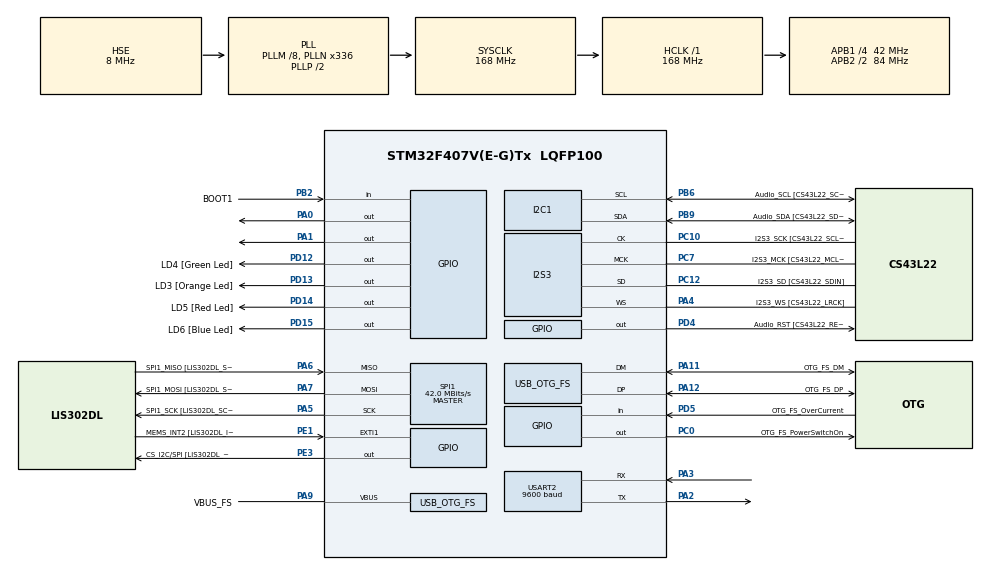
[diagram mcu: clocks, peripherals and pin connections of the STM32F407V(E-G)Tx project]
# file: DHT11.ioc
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I2S3.AudioFreq-Half_Duplex_Master=I2S_AUDIOFREQ_96K
I2S3.ErrorAudioFreq=-2.34 %
I2S3.ErrorAudioFreq-Half_Duplex_Master=0.8 %
I2S3.FullDuplexMode=I2S_FULLDUPLEXMODE_DISABLE
I2S3.Instance=SPI$Index
I2S3.RealAudioFreq=93.75 KHz
I2S3.RealAudioFreq-Half_Duplex_Master=96.774 KHz
I2S3.VirtualMode=I2S_MODE_MASTER
Mcu.Family=STM32F4
Mcu.Name=STM32F407V(E-G)Tx
Mcu.Package=LQFP100
NVIC.OTG_FS_IRQn=true\:0\:0\:false\:false\:true\:true\:true\:true
NVIC.PriorityGroup=NVIC_PRIORITYGROUP_0
PA0-WKUP.Signal=GPIO_Output
PA1.Signal=GPIO_Output
PA10.GPIO_Label=OTG_FS_ID
PA10.GPIO_Mode=GPIO_MODE_AF_PP
PA10.GPIO_PuPd=GPIO_NOPULL
PA10.GPIO_Speed=GPIO_SPEED_FREQ_LOW
PA10.Signal=USB_OTG_FS_ID
PA11.GPIO_Label=OTG_FS_DM
PA11.GPIO_Mode=GPIO_MODE_AF_PP
PA11.GPIO_PuPd=GPIO_NOPULL
PA11.GPIO_Speed=GPIO_SPEED_FREQ_LOW
PA11.Mode=Host_Only
PA11.Signal=USB_OTG_FS_DM
PA12.GPIO_Label=OTG_FS_DP
PA12.GPIO_Mode=GPIO_MODE_AF_PP
PA12.GPIO_PuPd=GPIO_NOPULL
PA12.GPIO_Speed=GPIO_SPEED_FREQ_LOW
PA12.Mode=Host_Only
PA12.Signal=USB_OTG_FS_DP
PA13.GPIO_Label=SWDIO
PA13.Mode=Serial_Wire
PA13.Signal=SYS_JTMS-SWDIO
PA14.GPIO_Label=SWCLK
PA14.Mode=Serial_Wire
PA14.Signal=SYS_JTCK-SWCLK
PA2.Mode=Asynchronous
PA2.Signal=USART2_TX
PA3.Mode=Asynchronous
PA3.Signal=USART2_RX
PA4.GPIO_Label=I2S3_WS [CS43L22_LRCK]
PA4.GPIO_Mode=GPIO_MODE_AF_PP
PA4.GPIO_PuPd=GPIO_NOPULL
PA4.GPIO_Speed=GPIO_SPEED_FREQ_LOW
PA4.Mode=Half_Duplex_Master
PA4.Signal=I2S3_WS
PA5.GPIO_Label=SPI1_SCK [LIS302DL_SCL/SPC]
PA5.GPIO_Mode=GPIO_MODE_AF_PP
PA5.GPIO_PuPd=GPIO_NOPULL
PA5.GPIO_Speed=GPIO_SPEED_FREQ_LOW
PA5.Mode=Full_Duplex_Master
PA5.Signal=SPI1_SCK
PA6.GPIO_Label=SPI1_MISO [LIS302DL_SDO]
PA6.GPIO_Mode=GPIO_MODE_AF_PP
PA6.GPIO_PuPd=GPIO_NOPULL
PA6.GPIO_Speed=GPIO_SPEED_FREQ_LOW
PA6.Mode=Full_Duplex_Master
PA6.Signal=SPI1_MISO
PA7.GPIO_Label=SPI1_MOSI [LIS302DL_SDA/SDI/SDO]
PA7.GPIO_Mode=GPIO_MODE_AF_PP
PA7.GPIO_PuPd=GPIO_NOPULL
PA7.GPIO_Speed=GPIO_SPEED_FREQ_LOW
PA7.Mode=Full_Duplex_Master
PA7.Signal=SPI1_MOSI
PA9.GPIO_Label=VBUS_FS
PA9.GPIO_Mode=GPIO_MODE_INPUT
PA9.GPIO_PuPd=GPIO_NOPULL
PA9.Mode=Activate_VBUS
PA9.Signal=USB_OTG_FS_VBUS
PB10.GPIO_Label=CLK_IN [MP45DT02_CLK]
PB10.GPIO_Mode=GPIO_MODE_AF_PP
PB10.GPIO_PuPd=GPIO_NOPULL
PB10.GPIO_Speed=GPIO_SPEED_FREQ_LOW
PB10.Signal=I2S2_CK
PB2.GPIO_Label=BOOT1
PB2.GPIO_Mode=GPIO_MODE_INPUT
PB2.GPIO_PuPd=GPIO_NOPULL
PB2.Signal=GPIO_Input
PB3.GPIO_Label=SWO
PB3.Signal=SYS_JTDO-SWO
PB6.GPIO_Label=Audio_SCL [CS43L22_SCL]
PB6.GPIO_Mode=GPIO_MODE_AF_OD
PB6.GPIO_Pu=GPIO_PULLUP
PB6.GPIO_PuPd=GPIO_NOPULL
PB6.GPIO_Speed=GPIO_SPEED_FREQ_LOW
PB6.Mode=I2C
PB6.Signal=I2C1_SCL
PB9.GPIO_Label=Audio_SDA [CS43L22_SDA]
PB9.GPIO_Mode=GPIO_MODE_AF_OD
PB9.GPIO_Pu=GPIO_PULLUP
PB9.GPIO_PuPd=GPIO_NOPULL
PB9.GPIO_Speed=GPIO_SPEED_FREQ_LOW
PB9.Mode=I2C
PB9.Signal=I2C1_SDA
PC0.GPIO_Label=OTG_FS_PowerSwitchOn
PC0.GPIO_PuPd=GPIO_NOPULL
PC0.GPIO_Speed=GPIO_SPEED_FREQ_LOW
PC0.PinState=GPIO_PIN_SET
PC0.Signal=GPIO_Output
PC10.GPIO_Label=I2S3_SCK [CS43L22_SCLK]
PC10.GPIO_Mode=GPIO_MODE_AF_PP
PC10.GPIO_PuPd=GPIO_NOPULL
PC10.GPIO_Speed=GPIO_SPEED_FREQ_LOW
PC10.Mode=Half_Duplex_Master
PC10.Signal=I2S3_CK
PC12.GPIO_Label=I2S3_SD [CS43L22_SDIN]
PC12.GPIO_Mode=GPIO_MODE_AF_PP
PC12.GPIO_PuPd=GPIO_NOPULL
PC12.GPIO_Speed=GPIO_SPEED_FREQ_LOW
PC12.Mode=Half_Duplex_Master
PC12.Signal=I2S3_SD
PC14-OSC32_IN.GPIO_Label=PC14-OSC32_IN
PC14-OSC32_IN.Mode=LSE-External-Oscillator
PC14-OSC32_IN.Signal=RCC_OSC32_IN
PC15-OSC32_OUT.GPIO_Label=PC15-OSC32_OUT
PC15-OSC32_OUT.Mode=LSE-External-Oscillator
PC15-OSC32_OUT.Signal=RCC_OSC32_OUT
PC3.GPIO_Label=PDM_OUT [MP45DT02_DOUT]
PC3.GPIO_Mode=GPIO_MODE_AF_PP
PC3.GPIO_PuPd=GPIO_NOPULL
PC3.GPIO_Speed=GPIO_SPEED_FREQ_LOW
PC3.Signal=I2S2_SD
PC7.GPIO_Label=I2S3_MCK [CS43L22_MCLK]
PC7.GPIO_Mode=GPIO_MODE_AF_PP
PC7.GPIO_PuPd=GPIO_NOPULL
PC7.GPIO_Speed=GPIO_SPEED_FREQ_LOW
PC7.Mode=Master_Clock_Activated
PC7.Signal=I2S3_MCK
PD12.GPIO_Label=LD4 [Green Led]
PD12.GPIO_PuPd=GPIO_NOPULL
PD12.GPIO_Speed=GPIO_SPEED_FREQ_LOW
PD12.Signal=GPIO_Output
PD13.GPIO_Label=LD3 [Orange Led]
PD13.GPIO_PuPd=GPIO_NOPULL
PD13.GPIO_Speed=GPIO_SPEED_FREQ_LOW
PD13.Signal=GPIO_Output
PD14.GPIO_Label=LD5 [Red Led]
PD14.GPIO_PuPd=GPIO_NOPULL
PD14.GPIO_Speed=GPIO_SPEED_FREQ_LOW
PD14.Signal=GPIO_Output
PD15.GPIO_Label=LD6 [Blue Led]
PD15.GPIO_PuPd=GPIO_NOPULL
PD15.GPIO_Speed=GPIO_SPEED_FREQ_LOW
PD15.Signal=GPIO_Output
PD4.GPIO_Label=Audio_RST [CS43L22_RESET]
PD4.GPIO_PuPd=GPIO_NOPULL
PD4.GPIO_Speed=GPIO_SPEED_FREQ_LOW
PD4.Signal=GPIO_Output
PD5.GPIO_Label=OTG_FS_OverCurrent
PD5.GPIO_Mode=GPIO_MODE_INPUT
PD5.GPIO_PuPd=GPIO_NOPULL
PD5.Signal=GPIO_Input
PE1.GPIO_Label=MEMS_INT2 [LIS302DL_INT2]
PE1.GPIO_ModeDefaultEXTI=GPIO_MODE_EVT_RISING
PE1.GPIO_PuPd=GPIO_NOPULL
PE1.Signal=GPXTI1
PE3.GPIO_Label=CS_I2C/SPI [LIS302DL_CS_I2C/SPI]
PE3.GPIO_PuPd=GPIO_NOPULL
PE3.GPIO_Speed=GPIO_SPEED_FREQ_LOW
PE3.Signal=GPIO_Output
PH0-OSC_IN.GPIO_Label=PH0-OSC_IN
PH0-OSC_IN.Mode=HSE-External-Oscillator
PH0-OSC_IN.Signal=RCC_OSC_IN
PH1-OSC_OUT.GPIO_Label=PH1-OSC_OUT
PH1-OSC_OUT.Mode=HSE-External-Oscillator
PH1-OSC_OUT.Signal=RCC_OSC_OUT
ProjectManager.HeapSize=0x200
ProjectManager.StackSize=0x400
ProjectManager.TargetToolchain=STM32CubeIDE
RCC.48MHZClocksFreq_Value=48000000
RCC.AHBFreq_Value=168000000
RCC.APB1CLKDivider=RCC_HCLK_DIV4
RCC.APB1Freq_Value=42000000
RCC.APB1TimFreq_Value=84000000
RCC.APB2CLKDivider=RCC_HCLK_DIV2
RCC.APB2Freq_Value=84000000
RCC.APB2TimFreq_Value=168000000
RCC.CortexFreq_Value=168000000
RCC.HCLKFreq_Value=168000000
RCC.HSE_VALUE=8000000
RCC.HSI_VALUE=16000000
RCC.PLLM=8
RCC.PLLN=336
RCC.PLLQ=7
RCC.SYSCLKFreq_VALUE=168000000
RCC.SYSCLKSource=RCC_SYSCLKSOURCE_PLLCLK
RCC.VCOOutputFreq_Value=336000000
SPI1.BaudRatePrescaler-Full_Duplex_Master=SPI_BAUDRATEPRESCALER_2
SPI1.CalculateBaudRate=42.0 MBits/s
SPI1.CalculateBaudRate-Full_Duplex_Master=42.0 MBits/s
SPI1.Direction=SPI_DIRECTION_2LINES
SPI1.Mode=SPI_MODE_MASTER
SPI1.Mode-Full_Duplex_Master=SPI_MODE_MASTER
SPI1.VirtualType=VM_MASTER
USART2.BaudRate=9600
USART2.VirtualMode=VM_ASYNC
USB_HOST.BSP.number=1
USB_HOST.USBH_HandleTypeDef-CDC_FS=hUsbHostFS
USB_HOST.VirtualModeFS=Cdc
USB_HOST0.BSP.STBoard=false
USB_HOST0.BSP.api=Unknown
USB_HOST0.BSP.instance=PC0
USB_HOST0.BSP.ip=GPIO
USB_HOST0.BSP.mode=Output
USB_HOST0.BSP.name=Drive_VBUS_FS
USB_HOST0.BSP.solution=PC0
USB_OTG_FS.VirtualMode=Host_Only
USB_OTG_FS.phy_itface=HCD_PHY_EMBEDDED
VP_TIM2_VS_ClockSourceINT.Mode=Internal
VP_TIM6_VS_ClockSourceINT.Mode=Enable_Timer
VP_USB_HOST_VS_USB_HOST_CDC_FS.Mode=CDC_FS
board=STM32F407G-DISC1

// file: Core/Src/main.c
/* USER CODE BEGIN Header */
/**
  ******************************************************************************
  * @file           : main.c
  * @brief          : Main program body
  ******************************************************************************
  * @attention
  *
  * Copyright (c) 2025 STMicroelectronics.
  * All rights reserved.
  *
  * This software is licensed under terms that can be found in the LICENSE file
  * in the root directory of this software component.
  * If no LICENSE file comes with this software, it is provided AS-IS.
  *
  ******************************************************************************
  */
/* USER CODE END Header */
#include "main.h"
#include "usb_host.h"
#include <stdio.h>

/* USER CODE BEGIN PD */
#define DHT11_PORT GPIOA
#define DHT11_PIN GPIO_PIN_0
/* USER CODE END PD */

I2C_HandleTypeDef hi2c1;
I2S_HandleTypeDef hi2s3;
SPI_HandleTypeDef hspi1;
TIM_HandleTypeDef htim2;
TIM_HandleTypeDef htim6;
UART_HandleTypeDef huart2;

void SystemClock_Config(void);
static void MX_GPIO_Init(void);
static void MX_I2C1_Init(void);
static void MX_I2S3_Init(void);
static void MX_SPI1_Init(void);
static void MX_TIM6_Init(void);
static void MX_TIM2_Init(void);
static void MX_USART2_UART_Init(void);
void MX_USB_HOST_Process(void);
void delay_us(uint32_t us);
void DHT11_Start(void);
uint8_t DHT11_Read(uint8_t *humidity, uint8_t *temperature);

/* USER CODE BEGIN 0 */
int __io_putchar(int ch) {
    HAL_UART_Transmit(&huart2, (uint8_t *)&ch, 1, HAL_MAX_DELAY);
    return ch;
}

// Mikrosaniye gecikmesi için fonksiyon
void delay_us(uint32_t us) {
    __HAL_TIM_SET_COUNTER(&htim2, 0);
    while (__HAL_TIM_GET_COUNTER(&htim2) < us);
}

// DHT11 başlatma sinyali
void DHT11_Start(void) {
    GPIO_InitTypeDef GPIO_InitStruct = {0};

    // Pini çıkış yap
    GPIO_InitStruct.Pin = DHT11_PIN;
    GPIO_InitStruct.Mode = GPIO_MODE_OUTPUT_PP;
    GPIO_InitStruct.Pull = GPIO_NOPULL;
    GPIO_InitStruct.Speed = GPIO_SPEED_FREQ_LOW;
    HAL_GPIO_Init(DHT11_PORT, &GPIO_InitStruct);

    // 18ms düşük sinyal
    HAL_GPIO_WritePin(DHT11_PORT, DHT11_PIN, GPIO_PIN_RESET);
    HAL_Delay(18);
    HAL_GPIO_WritePin(DHT11_PORT, DHT11_PIN, GPIO_PIN_SET);
    delay_us(30);

    // Pini giriş yap
    GPIO_InitStruct.Mode = GPIO_MODE_INPUT;
    HAL_GPIO_Init(DHT11_PORT, &GPIO_InitStruct);
}

// DHT11'den veri oku
uint8_t DHT11_Read(uint8_t *humidity, uint8_t *temperature) {
    uint8_t data[5] = {0};
    uint8_t i, j;

    DHT11_Start();
    delay_us(40);

    // Sensörün yanıtını kontrol et
    if (HAL_GPIO_ReadPin(DHT11_PORT, DHT11_PIN) == GPIO_PIN_RESET) {
        delay_us(80);
        if (HAL_GPIO_ReadPin(DHT11_PORT, DHT11_PIN) == GPIO_PIN_SET) {
            delay_us(80);

            // 40 bit veri oku
            for (j = 0; j < 5; j++) {
                for (i = 0; i < 8; i++) {
                    while (HAL_GPIO_ReadPin(DHT11_PORT, DHT11_PIN) == GPIO_PIN_RESET);
                    delay_us(40);
                    if (HAL_GPIO_ReadPin(DHT11_PORT, DHT11_PIN) == GPIO_PIN_SET) {
                        data[j] |= (1 << (7 - i));
                    }
                    while (HAL_GPIO_ReadPin(DHT11_PORT, DHT11_PIN) == GPIO_PIN_SET);
                }
            }

            // Kontrol toplamını doğrula
            if (data[4] == (data[0] + data[1] + data[2] + data[3])) {
                *humidity = data[0];    // Nem
                *temperature = data[2]; // Sıcaklık
                return 1; // Başarılı
            }
        }
    }
    return 0; // Hata
}
/* USER CODE END 0 */

int main(void)
{

  /* MCU Configuration--------------------------------------------------------*/
  /* Reset of all peripherals, Initializes the Flash interface and the Systick. */
  HAL_Init();

  /* Configure the system clock */
  SystemClock_Config();

  /* Initialize all configured peripherals */
  MX_GPIO_Init();
  MX_I2C1_Init();
  MX_I2S3_Init();
  MX_SPI1_Init();
  MX_USB_HOST_Init();
  MX_TIM6_Init();
  MX_TIM2_Init();
  MX_USART2_UART_Init();
  /* USER CODE BEGIN 2 */
  uint8_t humidity = 0, temperature = 0;
  /* USER CODE END 2 */

  /* Infinite loop */
  while (1)
  {
    MX_USB_HOST_Process();

    /* USER CODE BEGIN 3 */
    HAL_UART_Transmit(&huart2, (uint8_t *)"DHT11 Okuma Basliyor...\n", 24, HAL_MAX_DELAY);
    HAL_Delay(1000); // 1 saniye bekle

    // Veriyi oku
    if (DHT11_Read(&humidity, &temperature)) {
        printf("Nem: %d%%, Sicaklik: %d°C\n", humidity, temperature);
    } else {
        printf("DHT11 okuma hatasi!\n");
    }
    HAL_Delay(2000); // 2 saniye bekle
    /* USER CODE END 3 */
  }
}

void SystemClock_Config(void)
{
  RCC_OscInitTypeDef RCC_OscInitStruct = {0};
  RCC_ClkInitTypeDef RCC_ClkInitStruct = {0};

  /** Configure the main internal regulator output voltage
  */
  __HAL_RCC_PWR_CLK_ENABLE();
  __HAL_PWR_VOLTAGESCALING_CONFIG(PWR_REGULATOR_VOLTAGE_SCALE1);

  /** Initializes the RCC Oscillators according to the specified parameters
  * in the RCC_OscInitTypeDef structure.
  */
  RCC_OscInitStruct.OscillatorType = RCC_OSCILLATORTYPE_HSE;
  RCC_OscInitStruct.HSEState = RCC_HSE_ON;
  RCC_OscInitStruct.PLL.PLLState = RCC_PLL_ON;
  RCC_OscInitStruct.PLL.PLLSource = RCC_PLLSOURCE_HSE;
  RCC_OscInitStruct.PLL.PLLM = 8;
  RCC_OscInitStruct.PLL.PLLN = 336;
  RCC_OscInitStruct.PLL.PLLP = RCC_PLLP_DIV2;
  RCC_OscInitStruct.PLL.PLLQ = 7;
  if (HAL_RCC_OscConfig(&RCC_OscInitStruct) != HAL_OK)
  {
    Error_Handler();
  }

  /** Initializes the CPU, AHB and APB buses clocks
  */
  RCC_ClkInitStruct.ClockType = RCC_CLOCKTYPE_HCLK|RCC_CLOCKTYPE_SYSCLK
                              |RCC_CLOCKTYPE_PCLK1|RCC_CLOCKTYPE_PCLK2;
  RCC_ClkInitStruct.SYSCLKSource = RCC_SYSCLKSOURCE_PLLCLK;
  RCC_ClkInitStruct.AHBCLKDivider = RCC_SYSCLK_DIV1;
  RCC_ClkInitStruct.APB1CLKDivider = RCC_HCLK_DIV4;
  RCC_ClkInitStruct.APB2CLKDivider = RCC_HCLK_DIV2;

  if (HAL_RCC_ClockConfig(&RCC_ClkInitStruct, FLASH_LATENCY_5) != HAL_OK)
  {
    Error_Handler();
  }
}

static void MX_I2C1_Init(void)
{
  hi2c1.Instance = I2C1;
  hi2c1.Init.ClockSpeed = 100000;
  hi2c1.Init.DutyCycle = I2C_DUTYCYCLE_2;
  hi2c1.Init.OwnAddress1 = 0;
  hi2c1.Init.AddressingMode = I2C_ADDRESSINGMODE_7BIT;
  hi2c1.Init.DualAddressMode = I2C_DUALADDRESS_DISABLE;
  hi2c1.Init.OwnAddress2 = 0;
  hi2c1.Init.GeneralCallMode = I2C_GENERALCALL_DISABLE;
  hi2c1.Init.NoStretchMode = I2C_NOSTRETCH_DISABLE;
  if (HAL_I2C_Init(&hi2c1) != HAL_OK)
  {
    Error_Handler();
  }
}

static void MX_I2S3_Init(void)
{
  hi2s3.Instance = SPI3;
  hi2s3.Init.Mode = I2S_MODE_MASTER_TX;
  hi2s3.Init.Standard = I2S_STANDARD_PHILIPS;
  hi2s3.Init.DataFormat = I2S_DATAFORMAT_16B;
  hi2s3.Init.MCLKOutput = I2S_MCLKOUTPUT_ENABLE;
  hi2s3.Init.AudioFreq = I2S_AUDIOFREQ_96K;
  hi2s3.Init.CPOL = I2S_CPOL_LOW;
  hi2s3.Init.ClockSource = I2S_CLOCK_PLL;
  hi2s3.Init.FullDuplexMode = I2S_FULLDUPLEXMODE_DISABLE;
  if (HAL_I2S_Init(&hi2s3) != HAL_OK)
  {
    Error_Handler();
  }
}

static void MX_SPI1_Init(void)
{
  hspi1.Instance = SPI1;
  hspi1.Init.Mode = SPI_MODE_MASTER;
  hspi1.Init.Direction = SPI_DIRECTION_2LINES;
  hspi1.Init.DataSize = SPI_DATASIZE_8BIT;
  hspi1.Init.CLKPolarity = SPI_POLARITY_LOW;
  hspi1.Init.CLKPhase = SPI_PHASE_1EDGE;
  hspi1.Init.NSS = SPI_NSS_SOFT;
  hspi1.Init.BaudRatePrescaler = SPI_BAUDRATEPRESCALER_2;
  hspi1.Init.FirstBit = SPI_FIRSTBIT_MSB;
  hspi1.Init.TIMode = SPI_TIMODE_DISABLE;
  hspi1.Init.CRCCalculation = SPI_CRCCALCULATION_DISABLE;
  hspi1.Init.CRCPolynomial = 10;
  if (HAL_SPI_Init(&hspi1) != HAL_OK)
  {
    Error_Handler();
  }
}

static void MX_TIM2_Init(void)
{
  TIM_ClockConfigTypeDef sClockSourceConfig = {0};
  TIM_MasterConfigTypeDef sMasterConfig = {0};

  htim2.Instance = TIM2;
  htim2.Init.Prescaler = 84 - 1; // 168 MHz / 84 = 2 MHz (0.5 µs/tik)
  htim2.Init.CounterMode = TIM_COUNTERMODE_UP;
  htim2.Init.Period = 65535; // 16-bit aralığı için uygun
  htim2.Init.ClockDivision = TIM_CLOCKDIVISION_DIV1;
  htim2.Init.AutoReloadPreload = TIM_AUTORELOAD_PRELOAD_ENABLE;
  if (HAL_TIM_Base_Init(&htim2) != HAL_OK)
  {
    Error_Handler();
  }
  sClockSourceConfig.ClockSource = TIM_CLOCKSOURCE_INTERNAL;
  if (HAL_TIM_ConfigClockSource(&htim2, &sClockSourceConfig) != HAL_OK)
  {
    Error_Handler();
  }
  sMasterConfig.MasterOutputTrigger = TIM_TRGO_RESET;
  sMasterConfig.MasterSlaveMode = TIM_MASTERSLAVEMODE_DISABLE;
  if (HAL_TIMEx_MasterConfigSynchronization(&htim2, &sMasterConfig) != HAL_OK)
  {
    Error_Handler();
  }
  HAL_TIM_Base_Start(&htim2); // Timer'ı başlat
}

static void MX_TIM6_Init(void)
{
  TIM_MasterConfigTypeDef sMasterConfig = {0};

  htim6.Instance = TIM6;
  htim6.Init.Prescaler = 0;
  htim6.Init.CounterMode = TIM_COUNTERMODE_UP;
  htim6.Init.Period = 65535;
  htim6.Init.AutoReloadPreload = TIM_AUTORELOAD_PRELOAD_DISABLE;
  if (HAL_TIM_Base_Init(&htim6) != HAL_OK)
  {
    Error_Handler();
  }
  sMasterConfig.MasterOutputTrigger = TIM_TRGO_RESET;
  sMasterConfig.MasterSlaveMode = TIM_MASTERSLAVEMODE_DISABLE;
  if (HAL_TIMEx_MasterConfigSynchronization(&htim6, &sMasterConfig) != HAL_OK)
  {
    Error_Handler();
  }
}

static void MX_USART2_UART_Init(void)
{
  huart2.Instance = USART2;
  huart2.Init.BaudRate = 9600; // Hercules için 9600, istenirse 115200 yapılabilir
  huart2.Init.WordLength = UART_WORDLENGTH_8B;
  huart2.Init.StopBits = UART_STOPBITS_1;
  huart2.Init.Parity = UART_PARITY_NONE;
  huart2.Init.Mode = UART_MODE_TX_RX;
  huart2.Init.HwFlowCtl = UART_HWCONTROL_NONE;
  huart2.Init.OverSampling = UART_OVERSAMPLING_16;
  if (HAL_UART_Init(&huart2) != HAL_OK)
  {
    Error_Handler();
  }
}

static void MX_GPIO_Init(void)
{
  GPIO_InitTypeDef GPIO_InitStruct = {0};

  /* GPIO Ports Clock Enable */
  __HAL_RCC_GPIOE_CLK_ENABLE();
  __HAL_RCC_GPIOC_CLK_ENABLE();
  __HAL_RCC_GPIOH_CLK_ENABLE();
  __HAL_RCC_GPIOA_CLK_ENABLE();
  __HAL_RCC_GPIOB_CLK_ENABLE();
  __HAL_RCC_GPIOD_CLK_ENABLE();

  /*Configure GPIO pin Output Level */
  HAL_GPIO_WritePin(CS_I2C_SPI_GPIO_Port, CS_I2C_SPI_Pin, GPIO_PIN_RESET);

  /*Configure GPIO pin Output Level */
  HAL_GPIO_WritePin(OTG_FS_PowerSwitchOn_GPIO_Port, OTG_FS_PowerSwitchOn_Pin, GPIO_PIN_SET);

  /*Configure GPIO pin Output Level */
  HAL_GPIO_WritePin(GPIOA, GPIO_PIN_0|GPIO_PIN_1, GPIO_PIN_RESET);

  /*Configure GPIO pin Output Level */
  HAL_GPIO_WritePin(GPIOD, LD4_Pin|LD3_Pin|LD5_Pin|LD6_Pin
                          |Audio_RST_Pin, GPIO_PIN_RESET);

  /*Configure GPIO pin : CS_I2C_SPI_Pin */
  GPIO_InitStruct.Pin = CS_I2C_SPI_Pin;
  GPIO_InitStruct.Mode = GPIO_MODE_OUTPUT_PP;
  GPIO_InitStruct.Pull = GPIO_NOPULL;
  GPIO_InitStruct.Speed = GPIO_SPEED_FREQ_LOW;
  HAL_GPIO_Init(CS_I2C_SPI_GPIO_Port, &GPIO_InitStruct);

  /*Configure GPIO pin : OTG_FS_PowerSwitchOn_Pin */
  GPIO_InitStruct.Pin = OTG_FS_PowerSwitchOn_Pin;
  GPIO_InitStruct.Mode = GPIO_MODE_OUTPUT_PP;
  GPIO_InitStruct.Pull = GPIO_NOPULL;
  GPIO_InitStruct.Speed = GPIO_SPEED_FREQ_LOW;
  HAL_GPIO_Init(OTG_FS_PowerSwitchOn_GPIO_Port, &GPIO_InitStruct);

  /*Configure GPIO pin : PDM_OUT_Pin */
  GPIO_InitStruct.Pin = PDM_OUT_Pin;
  GPIO_InitStruct.Mode = GPIO_MODE_AF_PP;
  GPIO_InitStruct.Pull = GPIO_NOPULL;
  GPIO_InitStruct.Speed = GPIO_SPEED_FREQ_LOW;
  GPIO_InitStruct.Alternate = GPIO_AF5_SPI2;
  HAL_GPIO_Init(PDM_OUT_GPIO_Port, &GPIO_InitStruct);

  /*Configure GPIO pins : PA0 PA1 */
  GPIO_InitStruct.Pin = GPIO_PIN_0|GPIO_PIN_1;
  GPIO_InitStruct.Mode = GPIO_MODE_OUTPUT_PP;
  GPIO_InitStruct.Pull = GPIO_NOPULL;
  GPIO_InitStruct.Speed = GPIO_SPEED_FREQ_LOW;
  HAL_GPIO_Init(GPIOA, &GPIO_InitStruct);

  /*Configure GPIO pins : PA2 PA3 for USART2 */
  GPIO_InitStruct.Pin = GPIO_PIN_2|GPIO_PIN_3;
  GPIO_InitStruct.Mode = GPIO_MODE_AF_PP;
  GPIO_InitStruct.Pull = GPIO_NOPULL;
  GPIO_InitStruct.Speed = GPIO_SPEED_FREQ_VERY_HIGH;
  GPIO_InitStruct.Alternate = GPIO_AF7_USART2;
  HAL_GPIO_Init(GPIOA, &GPIO_InitStruct);

  /*Configure GPIO pin : BOOT1_Pin */
  GPIO_InitStruct.Pin = BOOT1_Pin;
  GPIO_InitStruct.Mode = GPIO_MODE_INPUT;
  GPIO_InitStruct.Pull = GPIO_NOPULL;
  HAL_GPIO_Init(BOOT1_GPIO_Port, &GPIO_InitStruct);

  /*Configure GPIO pin : CLK_IN_Pin */
  GPIO_InitStruct.Pin = CLK_IN_Pin;
  GPIO_InitStruct.Mode = GPIO_MODE_AF_PP;
  GPIO_InitStruct.Pull = GPIO_NOPULL;
  GPIO_InitStruct.Speed = GPIO_SPEED_FREQ_LOW;
  GPIO_InitStruct.Alternate = GPIO_AF5_SPI2;
  HAL_GPIO_Init(CLK_IN_GPIO_Port, &GPIO_InitStruct);

  /*Configure GPIO pins : LD4_Pin LD3_Pin LD5_Pin LD6_Pin Audio_RST_Pin */
  GPIO_InitStruct.Pin = LD4_Pin|LD3_Pin|LD5_Pin|LD6_Pin|Audio_RST_Pin;
  GPIO_InitStruct.Mode = GPIO_MODE_OUTPUT_PP;
  GPIO_InitStruct.Pull = GPIO_NOPULL;
  GPIO_InitStruct.Speed = GPIO_SPEED_FREQ_LOW;
  HAL_GPIO_Init(GPIOD, &GPIO_InitStruct);

  /*Configure GPIO pin : OTG_FS_OverCurrent_Pin */
  GPIO_InitStruct.Pin = OTG_FS_OverCurrent_Pin;
  GPIO_InitStruct.Mode = GPIO_MODE_INPUT;
  GPIO_InitStruct.Pull = GPIO_NOPULL;
  HAL_GPIO_Init(OTG_FS_OverCurrent_GPIO_Port, &GPIO_InitStruct);

  /*Configure GPIO pin : MEMS_INT2_Pin */
  GPIO_InitStruct.Pin = MEMS_INT2_Pin;
  GPIO_InitStruct.Mode = GPIO_MODE_EVT_RISING;
  GPIO_InitStruct.Pull = GPIO_NOPULL;
  HAL_GPIO_Init(MEMS_INT2_GPIO_Port, &GPIO_InitStruct);
}

void Error_Handler(void)
{
  __disable_irq();
  while (1)
  {
  }
}
